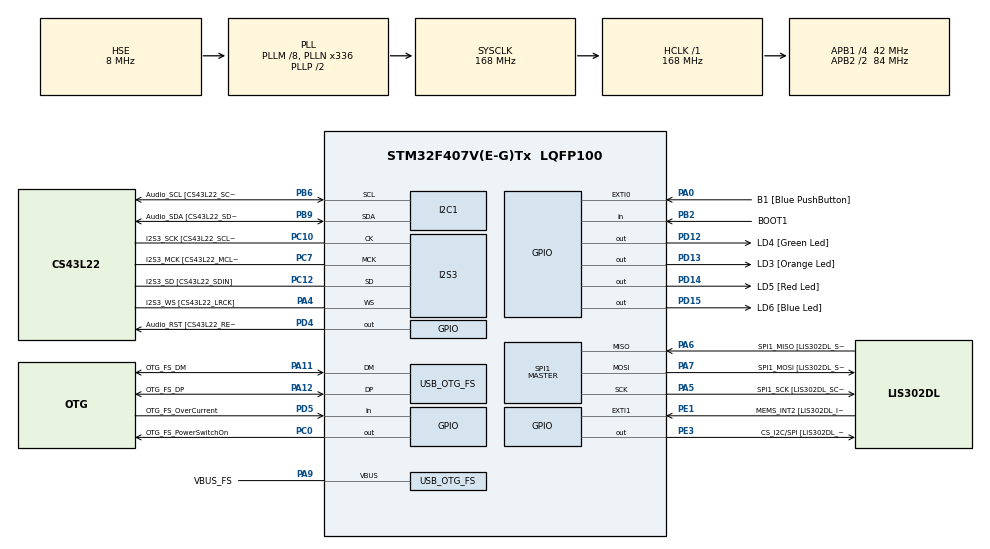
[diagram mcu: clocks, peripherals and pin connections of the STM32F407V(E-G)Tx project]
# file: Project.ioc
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I2S3.AudioFreq-Half_Duplex_Master=I2S_AUDIOFREQ_96K
I2S3.ErrorAudioFreq=-2.34 %
I2S3.ErrorAudioFreq-Half_Duplex_Master=0.8 %
I2S3.FullDuplexMode=I2S_FULLDUPLEXMODE_DISABLE
I2S3.Instance=SPI$Index
I2S3.RealAudioFreq=93.75 KHz
I2S3.RealAudioFreq-Half_Duplex_Master=96.774 KHz
I2S3.VirtualMode=I2S_MODE_MASTER
Mcu.Family=STM32F4
Mcu.Name=STM32F407V(E-G)Tx
Mcu.Package=LQFP100
NVIC.OTG_FS_IRQn=true\:0\:0\:false\:false\:true\:true\:true\:true
NVIC.PriorityGroup=NVIC_PRIORITYGROUP_0
PA0-WKUP.GPIO_Label=B1 [Blue PushButton]
PA0-WKUP.GPIO_ModeDefaultEXTI=GPIO_MODE_EVT_RISING
PA0-WKUP.GPIO_PuPd=GPIO_NOPULL
PA0-WKUP.Signal=GPXTI0
PA10.GPIO_Label=OTG_FS_ID
PA10.GPIO_Mode=GPIO_MODE_AF_PP
PA10.GPIO_PuPd=GPIO_NOPULL
PA10.GPIO_Speed=GPIO_SPEED_FREQ_LOW
PA10.Signal=USB_OTG_FS_ID
PA11.GPIO_Label=OTG_FS_DM
PA11.GPIO_Mode=GPIO_MODE_AF_PP
PA11.GPIO_PuPd=GPIO_NOPULL
PA11.GPIO_Speed=GPIO_SPEED_FREQ_LOW
PA11.Mode=Host_Only
PA11.Signal=USB_OTG_FS_DM
PA12.GPIO_Label=OTG_FS_DP
PA12.GPIO_Mode=GPIO_MODE_AF_PP
PA12.GPIO_PuPd=GPIO_NOPULL
PA12.GPIO_Speed=GPIO_SPEED_FREQ_LOW
PA12.Mode=Host_Only
PA12.Signal=USB_OTG_FS_DP
PA13.GPIO_Label=SWDIO
PA13.Mode=Serial_Wire
PA13.Signal=SYS_JTMS-SWDIO
PA14.GPIO_Label=SWCLK
PA14.Mode=Serial_Wire
PA14.Signal=SYS_JTCK-SWCLK
PA4.GPIO_Label=I2S3_WS [CS43L22_LRCK]
PA4.GPIO_Mode=GPIO_MODE_AF_PP
PA4.GPIO_PuPd=GPIO_NOPULL
PA4.GPIO_Speed=GPIO_SPEED_FREQ_LOW
PA4.Mode=Half_Duplex_Master
PA4.Signal=I2S3_WS
PA5.GPIO_Label=SPI1_SCK [LIS302DL_SCL/SPC]
PA5.GPIO_Mode=GPIO_MODE_AF_PP
PA5.GPIO_PuPd=GPIO_NOPULL
PA5.GPIO_Speed=GPIO_SPEED_FREQ_LOW
PA5.Mode=Full_Duplex_Master
PA5.Signal=SPI1_SCK
PA6.GPIO_Label=SPI1_MISO [LIS302DL_SDO]
PA6.GPIO_Mode=GPIO_MODE_AF_PP
PA6.GPIO_PuPd=GPIO_NOPULL
PA6.GPIO_Speed=GPIO_SPEED_FREQ_LOW
PA6.Mode=Full_Duplex_Master
PA6.Signal=SPI1_MISO
PA7.GPIO_Label=SPI1_MOSI [LIS302DL_SDA/SDI/SDO]
PA7.GPIO_Mode=GPIO_MODE_AF_PP
PA7.GPIO_PuPd=GPIO_NOPULL
PA7.GPIO_Speed=GPIO_SPEED_FREQ_LOW
PA7.Mode=Full_Duplex_Master
PA7.Signal=SPI1_MOSI
PA9.GPIO_Label=VBUS_FS
PA9.GPIO_Mode=GPIO_MODE_INPUT
PA9.GPIO_PuPd=GPIO_NOPULL
PA9.Mode=Activate_VBUS
PA9.Signal=USB_OTG_FS_VBUS
PB10.GPIO_Label=CLK_IN [MP45DT02_CLK]
PB10.GPIO_Mode=GPIO_MODE_AF_PP
PB10.GPIO_PuPd=GPIO_NOPULL
PB10.GPIO_Speed=GPIO_SPEED_FREQ_LOW
PB10.Signal=I2S2_CK
PB2.GPIO_Label=BOOT1
PB2.GPIO_Mode=GPIO_MODE_INPUT
PB2.GPIO_PuPd=GPIO_NOPULL
PB2.Signal=GPIO_Input
PB3.GPIO_Label=SWO
PB3.Signal=SYS_JTDO-SWO
PB6.GPIO_Label=Audio_SCL [CS43L22_SCL]
PB6.GPIO_Mode=GPIO_MODE_AF_OD
PB6.GPIO_Pu=GPIO_PULLUP
PB6.GPIO_PuPd=GPIO_NOPULL
PB6.GPIO_Speed=GPIO_SPEED_FREQ_LOW
PB6.Mode=I2C
PB6.Signal=I2C1_SCL
PB9.GPIO_Label=Audio_SDA [CS43L22_SDA]
PB9.GPIO_Mode=GPIO_MODE_AF_OD
PB9.GPIO_Pu=GPIO_PULLUP
PB9.GPIO_PuPd=GPIO_NOPULL
PB9.GPIO_Speed=GPIO_SPEED_FREQ_LOW
PB9.Mode=I2C
PB9.Signal=I2C1_SDA
PC0.GPIO_Label=OTG_FS_PowerSwitchOn
PC0.GPIO_PuPd=GPIO_NOPULL
PC0.GPIO_Speed=GPIO_SPEED_FREQ_LOW
PC0.PinState=GPIO_PIN_SET
PC0.Signal=GPIO_Output
PC10.GPIO_Label=I2S3_SCK [CS43L22_SCLK]
PC10.GPIO_Mode=GPIO_MODE_AF_PP
PC10.GPIO_PuPd=GPIO_NOPULL
PC10.GPIO_Speed=GPIO_SPEED_FREQ_LOW
PC10.Mode=Half_Duplex_Master
PC10.Signal=I2S3_CK
PC12.GPIO_Label=I2S3_SD [CS43L22_SDIN]
PC12.GPIO_Mode=GPIO_MODE_AF_PP
PC12.GPIO_PuPd=GPIO_NOPULL
PC12.GPIO_Speed=GPIO_SPEED_FREQ_LOW
PC12.Mode=Half_Duplex_Master
PC12.Signal=I2S3_SD
PC14-OSC32_IN.GPIO_Label=PC14-OSC32_IN
PC14-OSC32_IN.Mode=LSE-External-Oscillator
PC14-OSC32_IN.Signal=RCC_OSC32_IN
PC15-OSC32_OUT.GPIO_Label=PC15-OSC32_OUT
PC15-OSC32_OUT.Mode=LSE-External-Oscillator
PC15-OSC32_OUT.Signal=RCC_OSC32_OUT
PC3.GPIO_Label=PDM_OUT [MP45DT02_DOUT]
PC3.GPIO_Mode=GPIO_MODE_AF_PP
PC3.GPIO_PuPd=GPIO_NOPULL
PC3.GPIO_Speed=GPIO_SPEED_FREQ_LOW
PC3.Signal=I2S2_SD
PC7.GPIO_Label=I2S3_MCK [CS43L22_MCLK]
PC7.GPIO_Mode=GPIO_MODE_AF_PP
PC7.GPIO_PuPd=GPIO_NOPULL
PC7.GPIO_Speed=GPIO_SPEED_FREQ_LOW
PC7.Mode=Master_Clock_Activated
PC7.Signal=I2S3_MCK
PD12.GPIO_Label=LD4 [Green Led]
PD12.GPIO_PuPd=GPIO_NOPULL
PD12.GPIO_Speed=GPIO_SPEED_FREQ_LOW
PD12.Signal=GPIO_Output
PD13.GPIO_Label=LD3 [Orange Led]
PD13.GPIO_PuPd=GPIO_NOPULL
PD13.GPIO_Speed=GPIO_SPEED_FREQ_LOW
PD13.Signal=GPIO_Output
PD14.GPIO_Label=LD5 [Red Led]
PD14.GPIO_PuPd=GPIO_NOPULL
PD14.GPIO_Speed=GPIO_SPEED_FREQ_LOW
PD14.Signal=GPIO_Output
PD15.GPIO_Label=LD6 [Blue Led]
PD15.GPIO_PuPd=GPIO_NOPULL
PD15.GPIO_Speed=GPIO_SPEED_FREQ_LOW
PD15.Signal=GPIO_Output
PD4.GPIO_Label=Audio_RST [CS43L22_RESET]
PD4.GPIO_PuPd=GPIO_NOPULL
PD4.GPIO_Speed=GPIO_SPEED_FREQ_LOW
PD4.Signal=GPIO_Output
PD5.GPIO_Label=OTG_FS_OverCurrent
PD5.GPIO_Mode=GPIO_MODE_INPUT
PD5.GPIO_PuPd=GPIO_NOPULL
PD5.Signal=GPIO_Input
PE1.GPIO_Label=MEMS_INT2 [LIS302DL_INT2]
PE1.GPIO_ModeDefaultEXTI=GPIO_MODE_EVT_RISING
PE1.GPIO_PuPd=GPIO_NOPULL
PE1.Signal=GPXTI1
PE3.GPIO_Label=CS_I2C/SPI [LIS302DL_CS_I2C/SPI]
PE3.GPIO_PuPd=GPIO_NOPULL
PE3.GPIO_Speed=GPIO_SPEED_FREQ_LOW
PE3.Signal=GPIO_Output
PH0-OSC_IN.GPIO_Label=PH0-OSC_IN
PH0-OSC_IN.Mode=HSE-External-Oscillator
PH0-OSC_IN.Signal=RCC_OSC_IN
PH1-OSC_OUT.GPIO_Label=PH1-OSC_OUT
PH1-OSC_OUT.Mode=HSE-External-Oscillator
PH1-OSC_OUT.Signal=RCC_OSC_OUT
ProjectManager.HeapSize=0x200
ProjectManager.StackSize=0x400
ProjectManager.TargetToolchain=STM32CubeIDE
RCC.48MHZClocksFreq_Value=48000000
RCC.AHBFreq_Value=168000000
RCC.APB1CLKDivider=RCC_HCLK_DIV4
RCC.APB1Freq_Value=42000000
RCC.APB1TimFreq_Value=84000000
RCC.APB2CLKDivider=RCC_HCLK_DIV2
RCC.APB2Freq_Value=84000000
RCC.APB2TimFreq_Value=168000000
RCC.CortexFreq_Value=168000000
RCC.HCLKFreq_Value=168000000
RCC.HSE_VALUE=8000000
RCC.HSI_VALUE=16000000
RCC.PLLM=8
RCC.PLLN=336
RCC.PLLQ=7
RCC.SYSCLKFreq_VALUE=168000000
RCC.SYSCLKSource=RCC_SYSCLKSOURCE_PLLCLK
RCC.VCOOutputFreq_Value=336000000
SPI1.BaudRatePrescaler-Full_Duplex_Master=SPI_BAUDRATEPRESCALER_2
SPI1.CalculateBaudRate-Full_Duplex_Master=42.0 MBits/s
SPI1.Direction=SPI_DIRECTION_2LINES
SPI1.Mode=SPI_MODE_MASTER
SPI1.Mode-Full_Duplex_Master=SPI_MODE_MASTER
SPI1.VirtualType=VM_MASTER
USB_HOST.BSP.number=1
USB_HOST.USBH_HandleTypeDef-CDC_FS=hUsbHostFS
USB_HOST.VirtualModeFS=Cdc
USB_HOST0.BSP.STBoard=false
USB_HOST0.BSP.api=Unknown
USB_HOST0.BSP.instance=PC0
USB_HOST0.BSP.ip=GPIO
USB_HOST0.BSP.mode=Output
USB_HOST0.BSP.name=Drive_VBUS_FS
USB_HOST0.BSP.solution=PC0
USB_OTG_FS.VirtualMode=Host_Only
USB_OTG_FS.phy_itface=HCD_PHY_EMBEDDED
VP_USB_HOST_VS_USB_HOST_CDC_FS.Mode=CDC_FS
board=STM32F407G-DISC1

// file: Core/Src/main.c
/* USER CODE BEGIN Header */
/**
  ******************************************************************************
  * @file           : main.c
  * @brief          : Main program body
  ******************************************************************************
  * @attention
  *
  * Copyright (c) 2022 STMicroelectronics.
  * All rights reserved.
  *
  * This software is licensed under terms that can be found in the LICENSE file
  * in the root directory of this software component.
  * If no LICENSE file comes with this software, it is provided AS-IS.
  *
  ******************************************************************************
  */
/* USER CODE END Header */
#include "main.h"
#include "usb_host.h"
#include "string.h"
#include "stdio.h"
#include "stdbool.h"

I2C_HandleTypeDef hi2c1;

I2S_HandleTypeDef hi2s3;

SPI_HandleTypeDef hspi1;

void SystemClock_Config(void);
static void MX_GPIO_Init(void);
static void MX_I2C1_Init(void);
static void MX_I2S3_Init(void);
static void MX_SPI1_Init(void);
void MX_USB_HOST_Process(void);

/* USER CODE BEGIN PFP */
short value2find(float *array, uint8_t dim, float value)
{
	for(uint8_t i = 0; i < dim; i++)
		if(value == array[i]) return i;

return -1;
}

/**/
/* checkPalindrome copia in buffer la parola passata come variabile, la copia al contrario, la confronta con la originale e restituisce 1 se la parola è palindroma oppure 0
/**/
bool checkPalindrome(char *word, uint8_t dim)
{
	char rev_word[dim] = "";
	char buffer[dim] = "";
	for(uint8_t i = 0; i < dim; i++)
	{
		buffer[i] = word[i];
		rev_word[i] = word[dim - i];
	}
//char rev_word[dim]  = reverse(word,dim);
//buffer = strncpy(buffer,word,dim);
strcmp(buffer,buffer)) = true ? return true : return false;

}
char reverse_word(char *word, uint8_t dim)
{
	char rev_word[dim] = "";
	for(uint8_t i = 0; i < dim; i++) rev_word[i] = word[dim - i];

	return rev_word;
}
/* USER CODE END PFP */

int main(void)
{
  /* USER CODE BEGIN 1 */

/*EXERCISE 1*/
float value = 1.1;
float array[] = {1.0, 1.5, 1.1 , 5.6};
short flag = -1;
/***********/

/*EXERCISE 2*/
char word[] = "anna";
bool isPalindrome = false;

/***********/
  /* USER CODE END 1 */

  /* MCU Configuration--------------------------------------------------------*/

  /* Reset of all peripherals, Initializes the Flash interface and the Systick. */
  HAL_Init();

  /* Configure the system clock */
  SystemClock_Config();

  /* Initialize all configured peripherals */
  MX_GPIO_Init();
  MX_I2C1_Init();
  MX_I2S3_Init();
  MX_SPI1_Init();
  MX_USB_HOST_Init();
  /* USER CODE BEGIN 2 */
/*EXERCISE 1*/
flag = value2find(array,sizeof(array)/sizeof(array[0]),value);
/***********/

/*EXERCISE 2*/
isPalindrome = checkPalindrome(word, strlen(word));
/************/
  /* USER CODE END 2 */

  /* Infinite loop */
  while (1)
  {
    MX_USB_HOST_Process();

  }
}

void SystemClock_Config(void)
{
  RCC_OscInitTypeDef RCC_OscInitStruct = {0};
  RCC_ClkInitTypeDef RCC_ClkInitStruct = {0};

  /** Configure the main internal regulator output voltage
  */
  __HAL_RCC_PWR_CLK_ENABLE();
  __HAL_PWR_VOLTAGESCALING_CONFIG(PWR_REGULATOR_VOLTAGE_SCALE1);

  /** Initializes the RCC Oscillators according to the specified parameters
  * in the RCC_OscInitTypeDef structure.
  */
  RCC_OscInitStruct.OscillatorType = RCC_OSCILLATORTYPE_HSE;
  RCC_OscInitStruct.HSEState = RCC_HSE_ON;
  RCC_OscInitStruct.PLL.PLLState = RCC_PLL_ON;
  RCC_OscInitStruct.PLL.PLLSource = RCC_PLLSOURCE_HSE;
  RCC_OscInitStruct.PLL.PLLM = 8;
  RCC_OscInitStruct.PLL.PLLN = 336;
  RCC_OscInitStruct.PLL.PLLP = RCC_PLLP_DIV2;
  RCC_OscInitStruct.PLL.PLLQ = 7;
  if (HAL_RCC_OscConfig(&RCC_OscInitStruct) != HAL_OK)
  {
    Error_Handler();
  }

  /** Initializes the CPU, AHB and APB buses clocks
  */
  RCC_ClkInitStruct.ClockType = RCC_CLOCKTYPE_HCLK|RCC_CLOCKTYPE_SYSCLK
                              |RCC_CLOCKTYPE_PCLK1|RCC_CLOCKTYPE_PCLK2;
  RCC_ClkInitStruct.SYSCLKSource = RCC_SYSCLKSOURCE_PLLCLK;
  RCC_ClkInitStruct.AHBCLKDivider = RCC_SYSCLK_DIV1;
  RCC_ClkInitStruct.APB1CLKDivider = RCC_HCLK_DIV4;
  RCC_ClkInitStruct.APB2CLKDivider = RCC_HCLK_DIV2;

  if (HAL_RCC_ClockConfig(&RCC_ClkInitStruct, FLASH_LATENCY_5) != HAL_OK)
  {
    Error_Handler();
  }
}

static void MX_I2C1_Init(void)
{

  hi2c1.Instance = I2C1;
  hi2c1.Init.ClockSpeed = 100000;
  hi2c1.Init.DutyCycle = I2C_DUTYCYCLE_2;
  hi2c1.Init.OwnAddress1 = 0;
  hi2c1.Init.AddressingMode = I2C_ADDRESSINGMODE_7BIT;
  hi2c1.Init.DualAddressMode = I2C_DUALADDRESS_DISABLE;
  hi2c1.Init.OwnAddress2 = 0;
  hi2c1.Init.GeneralCallMode = I2C_GENERALCALL_DISABLE;
  hi2c1.Init.NoStretchMode = I2C_NOSTRETCH_DISABLE;
  if (HAL_I2C_Init(&hi2c1) != HAL_OK)
  {
    Error_Handler();
  }

}

static void MX_I2S3_Init(void)
{

  hi2s3.Instance = SPI3;
  hi2s3.Init.Mode = I2S_MODE_MASTER_TX;
  hi2s3.Init.Standard = I2S_STANDARD_PHILIPS;
  hi2s3.Init.DataFormat = I2S_DATAFORMAT_16B;
  hi2s3.Init.MCLKOutput = I2S_MCLKOUTPUT_ENABLE;
  hi2s3.Init.AudioFreq = I2S_AUDIOFREQ_96K;
  hi2s3.Init.CPOL = I2S_CPOL_LOW;
  hi2s3.Init.ClockSource = I2S_CLOCK_PLL;
  hi2s3.Init.FullDuplexMode = I2S_FULLDUPLEXMODE_DISABLE;
  if (HAL_I2S_Init(&hi2s3) != HAL_OK)
  {
    Error_Handler();
  }

}

static void MX_SPI1_Init(void)
{

  /* SPI1 parameter configuration*/
  hspi1.Instance = SPI1;
  hspi1.Init.Mode = SPI_MODE_MASTER;
  hspi1.Init.Direction = SPI_DIRECTION_2LINES;
  hspi1.Init.DataSize = SPI_DATASIZE_8BIT;
  hspi1.Init.CLKPolarity = SPI_POLARITY_LOW;
  hspi1.Init.CLKPhase = SPI_PHASE_1EDGE;
  hspi1.Init.NSS = SPI_NSS_SOFT;
  hspi1.Init.BaudRatePrescaler = SPI_BAUDRATEPRESCALER_2;
  hspi1.Init.FirstBit = SPI_FIRSTBIT_MSB;
  hspi1.Init.TIMode = SPI_TIMODE_DISABLE;
  hspi1.Init.CRCCalculation = SPI_CRCCALCULATION_DISABLE;
  hspi1.Init.CRCPolynomial = 10;
  if (HAL_SPI_Init(&hspi1) != HAL_OK)
  {
    Error_Handler();
  }

}

static void MX_GPIO_Init(void)
{
  GPIO_InitTypeDef GPIO_InitStruct = {0};

  /* GPIO Ports Clock Enable */
  __HAL_RCC_GPIOE_CLK_ENABLE();
  __HAL_RCC_GPIOC_CLK_ENABLE();
  __HAL_RCC_GPIOH_CLK_ENABLE();
  __HAL_RCC_GPIOA_CLK_ENABLE();
  __HAL_RCC_GPIOB_CLK_ENABLE();
  __HAL_RCC_GPIOD_CLK_ENABLE();

  /*Configure GPIO pin Output Level */
  HAL_GPIO_WritePin(CS_I2C_SPI_GPIO_Port, CS_I2C_SPI_Pin, GPIO_PIN_RESET);

  /*Configure GPIO pin Output Level */
  HAL_GPIO_WritePin(OTG_FS_PowerSwitchOn_GPIO_Port, OTG_FS_PowerSwitchOn_Pin, GPIO_PIN_SET);

  /*Configure GPIO pin Output Level */
  HAL_GPIO_WritePin(GPIOD, LD4_Pin|LD3_Pin|LD5_Pin|LD6_Pin
                          |Audio_RST_Pin, GPIO_PIN_RESET);

  /*Configure GPIO pin : CS_I2C_SPI_Pin */
  GPIO_InitStruct.Pin = CS_I2C_SPI_Pin;
  GPIO_InitStruct.Mode = GPIO_MODE_OUTPUT_PP;
  GPIO_InitStruct.Pull = GPIO_NOPULL;
  GPIO_InitStruct.Speed = GPIO_SPEED_FREQ_LOW;
  HAL_GPIO_Init(CS_I2C_SPI_GPIO_Port, &GPIO_InitStruct);

  /*Configure GPIO pin : OTG_FS_PowerSwitchOn_Pin */
  GPIO_InitStruct.Pin = OTG_FS_PowerSwitchOn_Pin;
  GPIO_InitStruct.Mode = GPIO_MODE_OUTPUT_PP;
  GPIO_InitStruct.Pull = GPIO_NOPULL;
  GPIO_InitStruct.Speed = GPIO_SPEED_FREQ_LOW;
  HAL_GPIO_Init(OTG_FS_PowerSwitchOn_GPIO_Port, &GPIO_InitStruct);

  /*Configure GPIO pin : PDM_OUT_Pin */
  GPIO_InitStruct.Pin = PDM_OUT_Pin;
  GPIO_InitStruct.Mode = GPIO_MODE_AF_PP;
  GPIO_InitStruct.Pull = GPIO_NOPULL;
  GPIO_InitStruct.Speed = GPIO_SPEED_FREQ_LOW;
  GPIO_InitStruct.Alternate = GPIO_AF5_SPI2;
  HAL_GPIO_Init(PDM_OUT_GPIO_Port, &GPIO_InitStruct);

  /*Configure GPIO pin : B1_Pin */
  GPIO_InitStruct.Pin = B1_Pin;
  GPIO_InitStruct.Mode = GPIO_MODE_EVT_RISING;
  GPIO_InitStruct.Pull = GPIO_NOPULL;
  HAL_GPIO_Init(B1_GPIO_Port, &GPIO_InitStruct);

  /*Configure GPIO pin : BOOT1_Pin */
  GPIO_InitStruct.Pin = BOOT1_Pin;
  GPIO_InitStruct.Mode = GPIO_MODE_INPUT;
  GPIO_InitStruct.Pull = GPIO_NOPULL;
  HAL_GPIO_Init(BOOT1_GPIO_Port, &GPIO_InitStruct);

  /*Configure GPIO pin : CLK_IN_Pin */
  GPIO_InitStruct.Pin = CLK_IN_Pin;
  GPIO_InitStruct.Mode = GPIO_MODE_AF_PP;
  GPIO_InitStruct.Pull = GPIO_NOPULL;
  GPIO_InitStruct.Speed = GPIO_SPEED_FREQ_LOW;
  GPIO_InitStruct.Alternate = GPIO_AF5_SPI2;
  HAL_GPIO_Init(CLK_IN_GPIO_Port, &GPIO_InitStruct);

  /*Configure GPIO pins : LD4_Pin LD3_Pin LD5_Pin LD6_Pin
                           Audio_RST_Pin */
  GPIO_InitStruct.Pin = LD4_Pin|LD3_Pin|LD5_Pin|LD6_Pin
                          |Audio_RST_Pin;
  GPIO_InitStruct.Mode = GPIO_MODE_OUTPUT_PP;
  GPIO_InitStruct.Pull = GPIO_NOPULL;
  GPIO_InitStruct.Speed = GPIO_SPEED_FREQ_LOW;
  HAL_GPIO_Init(GPIOD, &GPIO_InitStruct);

  /*Configure GPIO pin : OTG_FS_OverCurrent_Pin */
  GPIO_InitStruct.Pin = OTG_FS_OverCurrent_Pin;
  GPIO_InitStruct.Mode = GPIO_MODE_INPUT;
  GPIO_InitStruct.Pull = GPIO_NOPULL;
  HAL_GPIO_Init(OTG_FS_OverCurrent_GPIO_Port, &GPIO_InitStruct);

  /*Configure GPIO pin : MEMS_INT2_Pin */
  GPIO_InitStruct.Pin = MEMS_INT2_Pin;
  GPIO_InitStruct.Mode = GPIO_MODE_EVT_RISING;
  GPIO_InitStruct.Pull = GPIO_NOPULL;
  HAL_GPIO_Init(MEMS_INT2_GPIO_Port, &GPIO_InitStruct);

}

void Error_Handler(void)
{
  __disable_irq();
  while (1)
  {
  }
}
